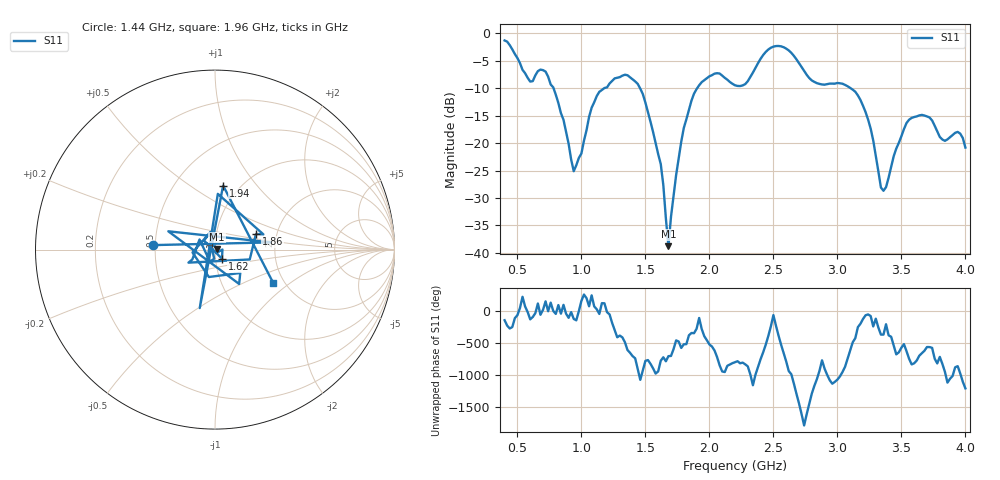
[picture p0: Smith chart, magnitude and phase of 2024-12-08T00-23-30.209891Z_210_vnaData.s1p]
!Created with skrf (http://scikit-rf.org).
# Hz S RI R 50.0
!freq ReS11 ImS11
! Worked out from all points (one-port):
!   181 points, 400 MHz to 4 GHz, reference 50 ohm
!   lowest |S11| = -38.8 dB at 1.68 GHz (marker M1), VSWR 1.02, Z = 51.1 + j0.367 ohm
!   |S11| at or under -10 dB: 782.4 MHz to 1.177 GHz (395 MHz wide, 40.3 % of centre); 1.458 GHz to 1.904 GHz (445.8 MHz wide, 26.5 % of centre); 3.104 GHz to end of sweep
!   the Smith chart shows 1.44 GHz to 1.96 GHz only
!   S11 on the Smith chart (normalised r, x): 1.44 GHz: 0.49, +0.03; 1.62 GHz: 1.08, -0.11; 1.86 GHz: 1.56, +0.29; 1.94 GHz: 0.84, +0.69; 1.96 GHz: 1.75, -0.76
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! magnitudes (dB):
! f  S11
! 400 MHz  -1.3
! 600 MHz  -8.8
! 720 MHz  -7.0
! 860 MHz  -15.7
! 940 MHz  -25.1
! 1.12 GHz  -11.4
! 1.3 GHz  -8.0
! 1.44 GHz  -9.2
! 1.62 GHz  -23.8
! 1.68 GHz  -38.8
! 1.76 GHz  -22.8
! 1.86 GHz  -12.2
! 1.94 GHz  -8.9
! 1.96 GHz  -8.5
! 2.08 GHz  -7.3
! 2.2 GHz  -9.5
! 2.28 GHz  -9.2
! 2.48 GHz  -2.6
! 2.66 GHz  -4.1
! 2.82 GHz  -8.8
! 3.1 GHz  -9.9
! 3.24 GHz  -15.7
! 3.36 GHz  -28.7
! 3.56 GHz  -15.7
! 3.72 GHz  -15.3
! 3.82 GHz  -19.3
! 3.94 GHz  -18.0
! 4 GHz  -20.8
